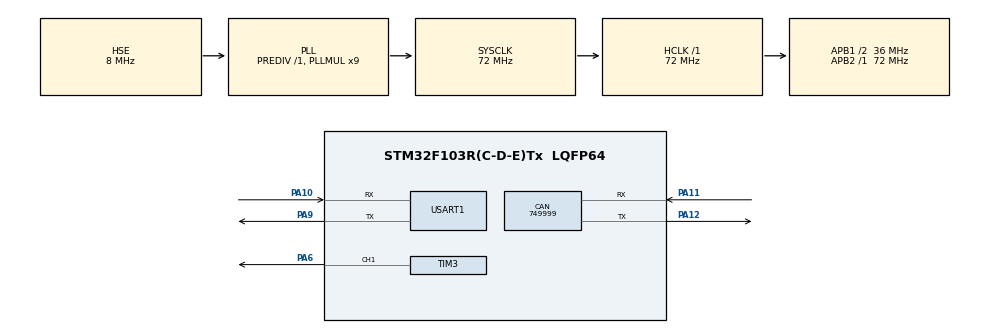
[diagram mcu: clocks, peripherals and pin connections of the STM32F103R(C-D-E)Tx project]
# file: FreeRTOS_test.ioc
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CAN.CalculateBaudRate=749999
CAN.CalculateTimeBit=1333
CAN.CalculateTimeQuantum=444.44444444444446
Dma.Request0=USART1_RX
Dma.USART1_RX.0.Direction=DMA_PERIPH_TO_MEMORY
Dma.USART1_RX.0.Instance=DMA1_Channel5
Dma.USART1_RX.0.MemDataAlignment=DMA_MDATAALIGN_BYTE
Dma.USART1_RX.0.MemInc=DMA_MINC_ENABLE
Dma.USART1_RX.0.Mode=DMA_CIRCULAR
Dma.USART1_RX.0.PeriphDataAlignment=DMA_PDATAALIGN_BYTE
Dma.USART1_RX.0.PeriphInc=DMA_PINC_DISABLE
Dma.USART1_RX.0.Priority=DMA_PRIORITY_MEDIUM
FREERTOS.BinarySemaphores01=BinarySem_LED_Freq,Dynamic,NULL,Available
FREERTOS.Queues01=Queue_CAN_Data,6,uint16_t,0,Dynamic,NULL,NULL;Queue_UART_Data,3,uint16_t,0,Dynamic,NULL,NULL; Queue_CAN_Process,6,uint16_t,0,Dynamic,NULL,NULL
FREERTOS.Tasks01=defaultTask,24,128,StartDefaultTask,Default,NULL,Dynamic,NULL,NULL;CAN,24,256,StartTask_CAN_Process,Default,NULL,Dynamic,NULL,NULL;Task_Breathing_,16,256,StartTask_BreathingLED,Default,NULL,Dynamic,NULL,NULL;TASK_UART_Proce,24,256,StartTask_USART_Process,Default,NULL,Dynamic,NULL,NULL
FREERTOS.configTOTAL_HEAP_SIZE=8192
Mcu.Family=STM32F1
Mcu.Name=STM32F103R(C-D-E)Tx
Mcu.Package=LQFP64
NVIC.DMA1_Channel5_IRQn=true\:5\:0\:false\:false\:true\:true\:false\:true\:true
NVIC.PriorityGroup=NVIC_PRIORITYGROUP_4
NVIC.TIM2_IRQn=true\:15\:0\:false\:false\:true\:false\:false\:true\:true
NVIC.TimeBase=TIM2_IRQn
NVIC.TimeBaseIP=TIM2
NVIC.USART1_IRQn=true\:6\:0\:true\:false\:true\:true\:true\:true\:true
NVIC.USB_LP_CAN1_RX0_IRQn=true\:5\:0\:false\:false\:true\:true\:true\:true\:true
PA10.Mode=Asynchronous
PA10.Signal=USART1_RX
PA11.Mode=CAN_Activate
PA11.Signal=CAN_RX
PA12.Mode=CAN_Activate
PA12.Signal=CAN_TX
PA13.Mode=Serial_Wire
PA13.Signal=SYS_JTMS-SWDIO
PA14.Mode=Serial_Wire
PA14.Signal=SYS_JTCK-SWCLK
PA6.Signal=S_TIM3_CH1
PA9.Mode=Asynchronous
PA9.Signal=USART1_TX
PD0-OSC_IN.Mode=HSE-External-Oscillator
PD0-OSC_IN.Signal=RCC_OSC_IN
PD1-OSC_OUT.Mode=HSE-External-Oscillator
PD1-OSC_OUT.Signal=RCC_OSC_OUT
ProjectManager.HeapSize=0x200
ProjectManager.StackSize=0x400
ProjectManager.TargetToolchain=MDK-ARM V5.32
RCC.AHBFreq_Value=72000000
RCC.APB1CLKDivider=RCC_HCLK_DIV2
RCC.APB1Freq_Value=36000000
RCC.APB1TimFreq_Value=72000000
RCC.APB2Freq_Value=72000000
RCC.APB2TimFreq_Value=72000000
RCC.HCLKFreq_Value=72000000
RCC.PLLMUL=RCC_PLL_MUL9
RCC.PLLSourceVirtual=RCC_PLLSOURCE_HSE
RCC.SYSCLKFreq_VALUE=72000000
RCC.SYSCLKSource=RCC_SYSCLKSOURCE_PLLCLK
RCC.USBFreq_Value=72000000
SH.S_TIM3_CH1.0=TIM3_CH1,PWM Generation1 CH1
TIM3.AutoReloadPreload=TIM_AUTORELOAD_PRELOAD_ENABLE
TIM3.Channel-PWM\ Generation1\ CH1=TIM_CHANNEL_1
TIM3.Period=999
TIM3.Prescaler=71
TIM3.Pulse-PWM\ Generation1\ CH1=500
USART1.VirtualMode=VM_ASYNC
VP_FREERTOS_VS_CMSIS_V2.Mode=CMSIS_V2
VP_SYS_VS_tim2.Mode=TIM2
VP_TIM3_VS_ClockSourceINT.Mode=Internal
board=custom

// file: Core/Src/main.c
/* USER CODE BEGIN Header */
/**
  ******************************************************************************
  * @file           : main.c
  * @brief          : Main program body
  ******************************************************************************
  * @attention
  *
  * Copyright (c) 2026 STMicroelectronics.
  * All rights reserved.
  *
  * This software is licensed under terms that can be found in the LICENSE file
  * in the root directory of this software component.
  * If no LICENSE file comes with this software, it is provided AS-IS.
  *
  ******************************************************************************
  */
/* USER CODE END Header */
#include "main.h"
#include "cmsis_os.h"
#include "can.h"
#include "dma.h"
#include "tim.h"
#include "usart.h"
#include "gpio.h"

/* USER CODE BEGIN Includes */
#include "common_def.h"
#include "can_process.h"
#include "uart_process.h"
#include "led_control.h"
/* USER CODE END Includes */

/* USER CODE BEGIN PM */
extern CAN_FilterTypeDef;
/* USER CODE END PM */

void SystemClock_Config(void);
void MX_FREERTOS_Init(void);

int main(void)
{

  /* MCU Configuration--------------------------------------------------------*/

  /* Reset of all peripherals, Initializes the Flash interface and the Systick. */
  HAL_Init();

  /* USER CODE BEGIN Init */
CAN_FilterTypeDef can_Filter = {0};

can_Filter.FilterIdHigh = 0;
can_Filter.FilterIdLow = 0;
can_Filter.FilterMaskIdHigh = 0;
can_Filter.FilterMaskIdLow = 0;
can_Filter.FilterFIFOAssignment = CAN_FILTER_FIFO0;
can_Filter.FilterBank = 0;
can_Filter.FilterMode = CAN_FILTERMODE_IDMASK;
can_Filter.FilterScale = CAN_FILTERSCALE_32BIT;
can_Filter.FilterActivation = CAN_FILTER_ENABLE;

HAL_CAN_ConfigFilter(&hcan, &can_Filter);

  /* USER CODE END Init */

  /* Configure the system clock */
  SystemClock_Config();

  /* Initialize all configured peripherals */
  MX_GPIO_Init();
  MX_DMA_Init();
  MX_CAN_Init();
  MX_USART1_UART_Init();
  MX_TIM3_Init();
  /* USER CODE BEGIN 2 */
  LED_Init();// 初始化LED控制
  UART_Init();// 初始化UART接收
  HAL_CAN_Start(&hcan);// 启动CAN外设
  HAL_CAN_ActivateNotification(&hcan, CAN_IT_RX_FIFO1_MSG_PENDING);// �?活CAN接收中断
  HAL_TIM_PWM_Start(&htim3, TIM_CHANNEL_1); // 启动PWM输出
  /* USER CODE END 2 */

  /* Init scheduler */
  osKernelInitialize();  /* Call init function for freertos objects (in cmsis_os2.c) */
  MX_FREERTOS_Init();

  /* Start scheduler */
  osKernelStart();

  /* We should never get here as control is now taken by the scheduler */

  /* Infinite loop */
  while (1)
  {

  }
}

void SystemClock_Config(void)
{
  RCC_OscInitTypeDef RCC_OscInitStruct = {0};
  RCC_ClkInitTypeDef RCC_ClkInitStruct = {0};

  /** Initializes the RCC Oscillators according to the specified parameters
  * in the RCC_OscInitTypeDef structure.
  */
  RCC_OscInitStruct.OscillatorType = RCC_OSCILLATORTYPE_HSE;
  RCC_OscInitStruct.HSEState = RCC_HSE_ON;
  RCC_OscInitStruct.HSEPredivValue = RCC_HSE_PREDIV_DIV1;
  RCC_OscInitStruct.HSIState = RCC_HSI_ON;
  RCC_OscInitStruct.PLL.PLLState = RCC_PLL_ON;
  RCC_OscInitStruct.PLL.PLLSource = RCC_PLLSOURCE_HSE;
  RCC_OscInitStruct.PLL.PLLMUL = RCC_PLL_MUL9;
  if (HAL_RCC_OscConfig(&RCC_OscInitStruct) != HAL_OK)
  {
    Error_Handler();
  }

  /** Initializes the CPU, AHB and APB buses clocks
  */
  RCC_ClkInitStruct.ClockType = RCC_CLOCKTYPE_HCLK|RCC_CLOCKTYPE_SYSCLK
                              |RCC_CLOCKTYPE_PCLK1|RCC_CLOCKTYPE_PCLK2;
  RCC_ClkInitStruct.SYSCLKSource = RCC_SYSCLKSOURCE_PLLCLK;
  RCC_ClkInitStruct.AHBCLKDivider = RCC_SYSCLK_DIV1;
  RCC_ClkInitStruct.APB1CLKDivider = RCC_HCLK_DIV2;
  RCC_ClkInitStruct.APB2CLKDivider = RCC_HCLK_DIV1;

  if (HAL_RCC_ClockConfig(&RCC_ClkInitStruct, FLASH_LATENCY_2) != HAL_OK)
  {
    Error_Handler();
  }
}

void HAL_TIM_PeriodElapsedCallback(TIM_HandleTypeDef *htim)
{
  if (htim->Instance == TIM2)
  {
    HAL_IncTick();
  }
}

void Error_Handler(void)
{
  __disable_irq();
  while (1)
  {
  }
}

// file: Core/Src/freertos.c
/* USER CODE BEGIN Header */
/**
  ******************************************************************************
  * File Name          : freertos.c
  * Description        : Code for freertos applications
  ******************************************************************************
  * @attention
  *
  * Copyright (c) 2026 STMicroelectronics.
  * All rights reserved.
  *
  * This software is licensed under terms that can be found in the LICENSE file
  * in the root directory of this software component.
  * If no LICENSE file comes with this software, it is provided AS-IS.
  *
  ******************************************************************************
  */
/* USER CODE END Header */

#include "FreeRTOS.h"
#include "task.h"
#include "main.h"
#include "cmsis_os.h"

/* USER CODE BEGIN Includes */
#include "common_def.h"
#include "led_control.h"
#include "can_process.h"
#include "uart_process.h"
/* USER CODE END Includes */

/* Definitions for defaultTask */
osThreadId_t defaultTaskHandle;
const osThreadAttr_t defaultTask_attributes = {
  .name = "defaultTask",
  .stack_size = 128 * 4,
  .priority = (osPriority_t) osPriorityNormal,
};
/* Definitions for CAN */
osThreadId_t CANHandle;
const osThreadAttr_t CAN_attributes = {
  .name = "CAN",
  .stack_size = 256 * 4,
  .priority = (osPriority_t) osPriorityNormal,
};
/* Definitions for Task_Breathing_ */
osThreadId_t Task_Breathing_Handle;
const osThreadAttr_t Task_Breathing__attributes = {
  .name = "Task_Breathing_",
  .stack_size = 256 * 4,
  .priority = (osPriority_t) osPriorityBelowNormal,
};
/* Definitions for TASK_UART_Proce */
osThreadId_t TASK_UART_ProceHandle;
const osThreadAttr_t TASK_UART_Proce_attributes = {
  .name = "TASK_UART_Proce",
  .stack_size = 256 * 4,
  .priority = (osPriority_t) osPriorityNormal,
};
/* Definitions for Queue_CAN_Data */
osMessageQueueId_t Queue_CAN_DataHandle;
const osMessageQueueAttr_t Queue_CAN_Data_attributes = {
  .name = "Queue_CAN_Data"
};
/* Definitions for Queue_UART_Data */
osMessageQueueId_t Queue_UART_DataHandle;
const osMessageQueueAttr_t Queue_UART_Data_attributes = {
  .name = "Queue_UART_Data"
};
/* Definitions for Queue_CAN_Process */
osMessageQueueId_t Queue_CAN_ProcessHandle;
const osMessageQueueAttr_t Queue_CAN_Process_attributes = {
  .name = " Queue_CAN_Process"
};
/* Definitions for BinarySem_LED_Freq */
osSemaphoreId_t BinarySem_LED_FreqHandle;
const osSemaphoreAttr_t BinarySem_LED_Freq_attributes = {
  .name = "BinarySem_LED_Freq"
};

void StartDefaultTask(void *argument);
void StartTask_CAN_Process(void *argument);
void StartTask_BreathingLED(void *argument);
void StartTask_USART_Process(void *argument);

void MX_FREERTOS_Init(void); /* (MISRA C 2004 rule 8.1) */

void MX_FREERTOS_Init(void) {

  /* Create the semaphores(s) */
  /* creation of BinarySem_LED_Freq */
  BinarySem_LED_FreqHandle = osSemaphoreNew(1, 1, &BinarySem_LED_Freq_attributes);

  /* Create the queue(s) */
  /* creation of Queue_CAN_Data */
  Queue_CAN_DataHandle = osMessageQueueNew (6, sizeof(uint16_t), &Queue_CAN_Data_attributes);

  /* creation of Queue_UART_Data */
  Queue_UART_DataHandle = osMessageQueueNew (3, sizeof(uint16_t), &Queue_UART_Data_attributes);

  /* creation of Queue_CAN_Process */
   Queue_CAN_ProcessHandle = osMessageQueueNew (6, sizeof(uint16_t), & Queue_CAN_Process_attributes);

  /* Create the thread(s) */
  /* creation of defaultTask */
  defaultTaskHandle = osThreadNew(StartDefaultTask, NULL, &defaultTask_attributes);

  /* creation of CAN */
  CANHandle = osThreadNew(StartTask_CAN_Process, NULL, &CAN_attributes);

  /* creation of Task_Breathing_ */
  Task_Breathing_Handle = osThreadNew(StartTask_BreathingLED, NULL, &Task_Breathing__attributes);

  /* creation of TASK_UART_Proce */
  TASK_UART_ProceHandle = osThreadNew(StartTask_USART_Process, NULL, &TASK_UART_Proce_attributes);

}

void StartDefaultTask(void *argument)
{
  for(;;)
  {
    osDelay(1);
  }
}

void StartTask_CAN_Process(void *argument)
{
  /* USER CODE BEGIN StartTask_CAN_Process */
  CAN_Message_t can_msg;
  BreathingLED_Param_t led_params;
  DEBUG_PRINT("CAN Process Task Started.\n");
  /* Infinite loop */
  for(;;)
  {
    if(osMessageQueueGet(Queue_CAN_DataHandle, &can_msg, NULL, osWaitForever) == osOK)
    {
        DEBUG_PRINT("Processing CAN Msg ID=0x%03X\n", can_msg.std_id);
        /*?查CAN帧有效?? */
        if(CAN_CheckFrame(&can_msg) == SYS_OK)
        {
            /* 提取控制信息 */
            led_params = CAN_ExtractControlInfo(&can_msg);
            DEBUG_PRINT("Extracted LED Params: Period=%dms MinDuty=%d%% MaxDuty=%d%%\n",
                        led_params.period_ms, led_params.min_duty, led_params.max_duty);
            /* 发�?�到呼吸灯任务队�? */
            if(osMessageQueuePut(Queue_CAN_ProcessHandle, &led_params, 0, 0) != osOK)
            {
                DEBUG_PRINT("Breathing LED Queue Full!\n");
            }
        }
        else
        {
            DEBUG_PRINT("Invalid CAN Frame Received!\n");
        }
    }
    osDelay(1);
  }
  /* USER CODE END StartTask_CAN_Process */
}

void StartTask_BreathingLED(void *argument)
{
  /* USER CODE BEGIN StartTask_BreathingLED */
  BreathingLED_Param_t led_params;
  /* Infinite loop */
  for(;;)
  {
    if(osMessageQueueGet(Queue_CAN_ProcessHandle, &led_params, NULL, osWaitForever) == osOK)
    {
        DEBUG_PRINT("Processing Breathing LED Params: Period=%dms MinDuty=%d%% MaxDuty=%d%%\n",
                    led_params.period_ms, led_params.min_duty, led_params.max_duty);
        /* 调用呼吸灯控制函�? */
        LED_UpdatePWM(&led_params);
        LED_BreathingUpdate();
    }
    osDelay(1);
  }
  /* USER CODE END StartTask_BreathingLED */
}

void StartTask_USART_Process(void *argument)
{
  /* USER CODE BEGIN StartTask_USART_Process */
    UART_Message_t uart_msg;
    char temp_buffer[UART_TX_BUFFER_SIZE+1];
    DEBUG_PRINT("UART Process Task Started.\n");
  /* Infinite loop */
  for(;;)
  {
    if(osMessageQueueGet(Queue_UART_DataHandle, &uart_msg, NULL, osWaitForever) == osOK)
    {
        DEBUG_PRINT("Processing UART Msg Length=%d\n", uart_msg.length);
        /* 处理UART数据，这里简单打印接收到的数�? */
        memset(temp_buffer, 0, sizeof(temp_buffer));
        memcpy(temp_buffer, uart_msg.buffer, uart_msg.length);
        DEBUG_PRINT("Received Data: %s\n", temp_buffer);
    }

    osDelay(1);
  }
  /* USER CODE END StartTask_USART_Process */
}
